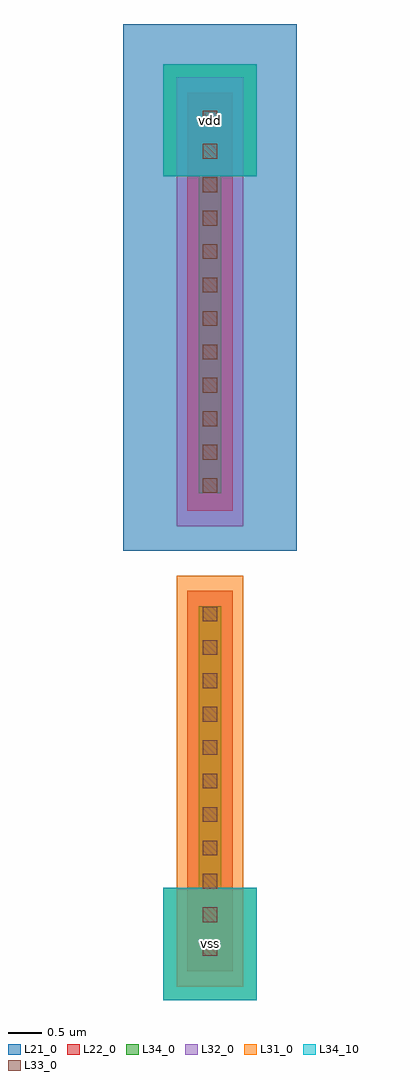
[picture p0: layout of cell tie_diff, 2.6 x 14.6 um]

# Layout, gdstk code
import gdstk
lib = gdstk.Library(unit=1e-6, precision=1e-09)
def R(c, l, rs):  # rectangles x0, y0, x1, y1
    for r in rs: c.add(gdstk.rectangle(r[:2], r[2:], *l))
def A(c, l, x, y, w, h, nx, ny, dx, dy):  # array of equal rectangles
    R(c, l, [(x+i*dx, y+j*dy, x+i*dx+w, y+j*dy+h) for i in range(nx) for j in range(ny)])
def P(c, l, *ps):  # polygons
    for p in ps: c.add(gdstk.Polygon(p, *l))
L21_0 = (21, 0)
L22_0 = (22, 0)
L31_0 = (31, 0)
L32_0 = (32, 0)
L33_0 = (33, 0)
L34_0 = (34, 0)
L34_10 = (34, 10)

tie_diff = lib.new_cell('tie_diff')
R(tie_diff, L21_0, [(-0.6,6.72,2,14.6)])
R(tie_diff, L22_0, [(0.36,0.43,1.04,6.12), (0.36,7.32,1.04,13.57)])
R(tie_diff, L31_0, [(0.2,0.2,1.2,6.35)])
R(tie_diff, L32_0, [(0.2,7.09,1.2,13.8)])
A(tie_diff, L33_0, 0.59, 0.665, 0.22, 0.22, 1, 11, 0, 0.5)
A(tie_diff, L33_0, 0.59, 7.585, 0.22, 0.22, 1, 12, 0, 0.5)
P(tie_diff, L34_0, [(0.53,7.58),(0.53,12.32),(0,12.32),(0,14),(1.4,14),(1.4,12.32),(0.87,12.32),(0.87,7.58)],
  [(0,0),(0,1.68),(0.53,1.68),(0.53,5.89),(0.87,5.89),(0.87,1.68),(1.4,1.68),(1.4,0)])
R(tie_diff, L34_10, [(0,0,1.4,1.68), (0,12.32,1.4,14)])
tie_diff.add(gdstk.Label('vdd', (0.7,13.16), layer=34, texttype=10))
tie_diff.add(gdstk.Label('vss', (0.7,0.84), layer=34, texttype=10))

lib.write_gds('tie_diff.gds')
